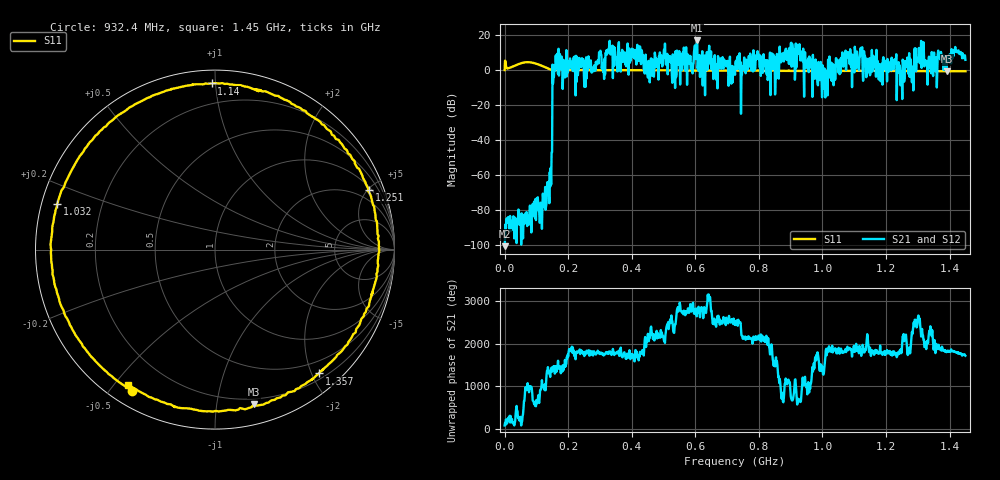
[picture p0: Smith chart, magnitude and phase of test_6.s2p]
! Created with skrf 1.11.0 (http://scikit-rf.org).
# Hz S RI R 50.0
!freq ReS11 ImS11 ReS21 ImS21 ReS12 ImS12 ReS22 ImS22
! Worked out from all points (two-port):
!   1001 points, 50 kHz to 1.45 GHz, reference 50 ohm
!   highest |S21| = 16.67 dB at 606.1 MHz (marker M1); lowest = -100.9 dB at 50 kHz (marker M2)
!   |S21| within 3 dB of the highest: 329 MHz to 331.2 MHz (2.18 MHz wide, 0.66 % of centre); 604.4535 MHz to 606.4009 MHz (1.947 MHz wide, 0.322 % of centre) (the widest 2 of 15)
!   lowest |S11| = -1.0 dB at 1.392 GHz (marker M3), VSWR 17.11, Z = 7.69 - j63.5 ohm
!   |S11| at or under -10 dB: nowhere
!   |S22| runs from - to - dB; largest |S21 - S12| = 0
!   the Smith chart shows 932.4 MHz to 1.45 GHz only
!   S11 on the Smith chart (normalised r, x): 932.4 MHz: 0.06, -0.57; 1.032 GHz: 0.05, +0.14; 1.14 GHz: 0.08, +0.98; 1.251 GHz: 1.18, +5.08; 1.357 GHz: 0.29, -2.11; 1.45 GHz: 0.07, -0.54
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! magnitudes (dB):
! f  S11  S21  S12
! 50 kHz  -0.2  -100.9  -100.9
! 124.7 MHz  1.6  -76.5  -76.5
! 142.1 MHz  0.2  -58.6  -58.6
! 158.1 MHz  -0.3  -0.5  -0.5
! 242.2 MHz  -0.3  2.3  2.3
! 311.8 MHz  -0.3  0.4  0.4
! 332.1 MHz  -0.3  9.3  9.3
! 484.3 MHz  -0.4  -5.7  -5.7
! 606.1 MHz  -0.6  16.7  16.7
! 725 MHz  -0.6  -2.9  -2.9
! 932.4 MHz  -0.8  9.6  9.6
! 967.2 MHz  -0.8  1.8  1.8
! 1.009 GHz  -0.8  -15.9  -15.9
! 1.032 GHz  -0.8  -6.4  -6.4
! 1.077 GHz  -0.7  6.9  6.9
! 1.14 GHz  -0.7  6.2  6.2
! 1.209 GHz  -0.7  3.5  3.5
! 1.251 GHz  -0.7  -16.8  -16.8
! 1.311 GHz  -0.8  16.4  16.4
! 1.357 GHz  -0.9  6.7  6.7
! 1.392 GHz  -1.0  6.6  6.6
! 1.45 GHz  -1.0  5.6  5.6
